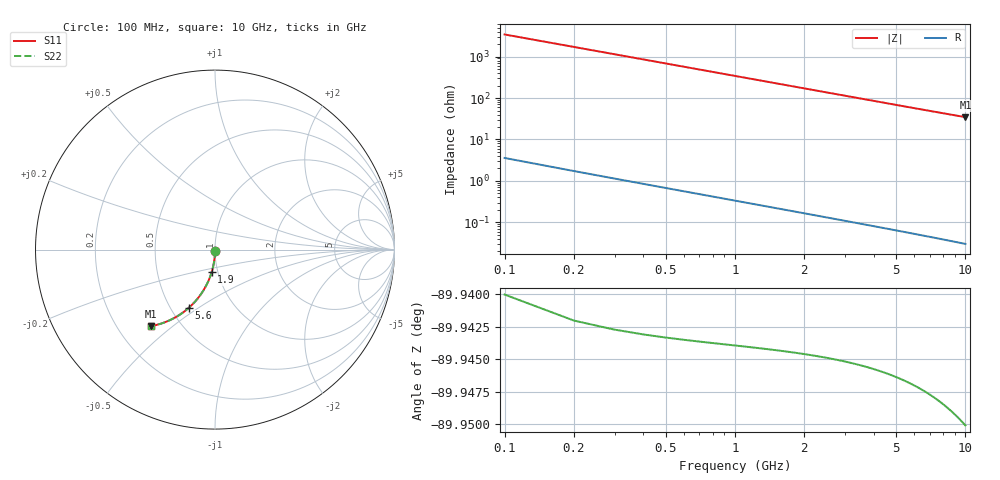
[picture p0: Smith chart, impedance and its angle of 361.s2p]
# Hz S RI R 50.00
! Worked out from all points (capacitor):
!   100 points, 100 MHz to 10 GHz, reference 50 ohm
!   read as one part in shunt: C = 465 fF near 100 MHz
!   lowest |Z| = 34.6 ohm at 10 GHz (marker M1)
!   S11 on the Smith chart (normalised r, x): 100 MHz: 1.00, -0.01; 1.9 GHz: 0.93, -0.24; 5.6 GHz: 0.62, -0.46; 10 GHz: 0.34, -0.42
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1e8  8.44e-05 -0.00679  0.9998 -0.00783  0.9998 -0.00783  8.44e-05 -0.00679
2e8  -8.12e-05 -0.0136  0.9996 -0.0157  0.9996 -0.0157  -8.12e-05 -0.0136
3e8  -0.000353 -0.0204  0.9993 -0.0235  0.9993 -0.0235  -0.000353 -0.0204
4e8  -0.000732 -0.0271  0.999 -0.0313  0.999 -0.0313  -0.000732 -0.0271
5e8  -0.00122 -0.0339  0.9985 -0.0391  0.9985 -0.0391  -0.00122 -0.0339
6e8  -0.00181 -0.0407  0.9979 -0.0469  0.9979 -0.0469  -0.00181 -0.0407
7e8  -0.0025 -0.0474  0.9972 -0.0547  0.9972 -0.0547  -0.0025 -0.0474
8e8  -0.0033 -0.0542  0.9964 -0.0624  0.9964 -0.0624  -0.0033 -0.0542
9e8  -0.00421 -0.0609  0.9954 -0.0702  0.9954 -0.0702  -0.00421 -0.0609
1.1e9  -0.00633 -0.0742  0.9933 -0.0856  0.9933 -0.0856  -0.00633 -0.0742
1.4e9  -0.0103 -0.0941  0.9893 -0.1086  0.9893 -0.1086  -0.0103 -0.0941
1.8e9  -0.017 -0.1202  0.9826 -0.1389  0.9826 -0.1389  -0.017 -0.1202
1.9e9  -0.0189 -0.1266  0.9806 -0.1463  0.9806 -0.1463  -0.0189 -0.1266
2.2e9  -0.0252 -0.1457  0.9742 -0.1685  0.9742 -0.1685  -0.0252 -0.1457
2.6e9  -0.0349 -0.1704  0.9644 -0.1975  0.9644 -0.1975  -0.0349 -0.1704
3.4e9  -0.0585 -0.2174  0.9406 -0.2527  0.9406 -0.2527  -0.0585 -0.2174
4.2e9  -0.0869 -0.2602  0.9118 -0.304  0.9118 -0.304  -0.0869 -0.2602
5.1e9  -0.1235 -0.3029  0.8747 -0.3562  0.8747 -0.3562  -0.1235 -0.3029
5.6e9  -0.1456 -0.3239  0.8524 -0.3825  0.8524 -0.3825  -0.1456 -0.3239
6.7e9  -0.197 -0.3631  0.8002 -0.4335  0.8002 -0.4335  -0.197 -0.3631
8.4e9  -0.2802 -0.4052  0.7155 -0.4941  0.7155 -0.4941  -0.2802 -0.4052
1e10  -0.3577 -0.4264  0.6362 -0.533  0.6362 -0.533  -0.3577 -0.4264
